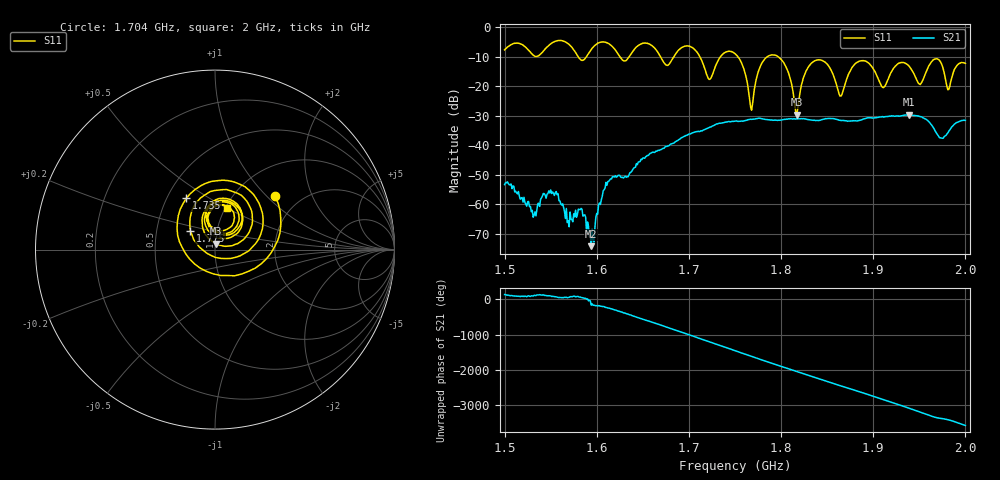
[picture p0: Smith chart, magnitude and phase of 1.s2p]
! NanoVNA-App by SYSJOINT et al v1.1.209 (+OD18)
! Date: 2026-01-21 14:42:21
! Start: 1,5GHz Stop: 2GHz Points: 501
! S-Parameter data: F S11 S21 S12 S22
# Hz S RI R 50
!  Frequency  S11_Real  S11_Imag  S21_Real  S21_Imag  S12_Real  S12_Imag  S22_Real  S22_Imag
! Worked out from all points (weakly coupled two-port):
!   501 points, 1.5 GHz to 2 GHz, reference 50 ohm
!   highest |S21| = -29.64 dB at 1.939 GHz (marker M1); lowest = -74.2 dB at 1.594 GHz (marker M2)
!   lowest |S11| = -29.6 dB at 1.817 GHz (marker M3), VSWR 1.07, Z = 50.6 + j3.27 ohm
!   |S11| at or under -10 dB: 1.712 GHz to 1.734 GHz (22.41 MHz wide, 1.3 % of centre); 1.753 GHz to 1.785 GHz (31.88 MHz wide, 1.8 % of centre); 1.797 GHz to end of sweep (the widest 3 of 6)
!   S12 and S22 are empty: the file has one direction only
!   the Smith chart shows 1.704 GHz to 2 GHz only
!   S11 on the Smith chart (normalised r, x): 1.704 GHz: 1.49, +1.12; 1.735 GHz: 0.63, +0.40; 1.775 GHz: 0.74, +0.16; 2 GHz: 1.02, +0.51
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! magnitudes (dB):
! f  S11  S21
! 1.5 GHz  -7.7  -53.3
! 1.584 GHz  -11.3  -61.7
! 1.594 GHz  -7.5  -74.2
! 1.612 GHz  -5.4  -52.3
! 1.667 GHz  -8.9  -41.7
! 1.704 GHz  -7.0  -35.8
! 1.722 GHz  -17.7  -34.0
! 1.735 GHz  -9.7  -32.5
! 1.75 GHz  -9.0  -31.8
! 1.767 GHz  -27.2  -31.2
! 1.775 GHz  -15.3  -30.9
! 1.799 GHz  -10.6  -31.5
! 1.817 GHz  -29.6  -31.0
! 1.834 GHz  -11.9  -31.5
! 1.865 GHz  -23.3  -31.6
! 1.885 GHz  -11.5  -31.6
! 1.917 GHz  -16.9  -30.2
! 1.939 GHz  -13.2  -29.6
! 1.951 GHz  -19.4  -30.3
! 1.97 GHz  -10.8  -36.5
! 1.981 GHz  -21.2  -35.8
! 2 GHz  -12.3  -31.6
